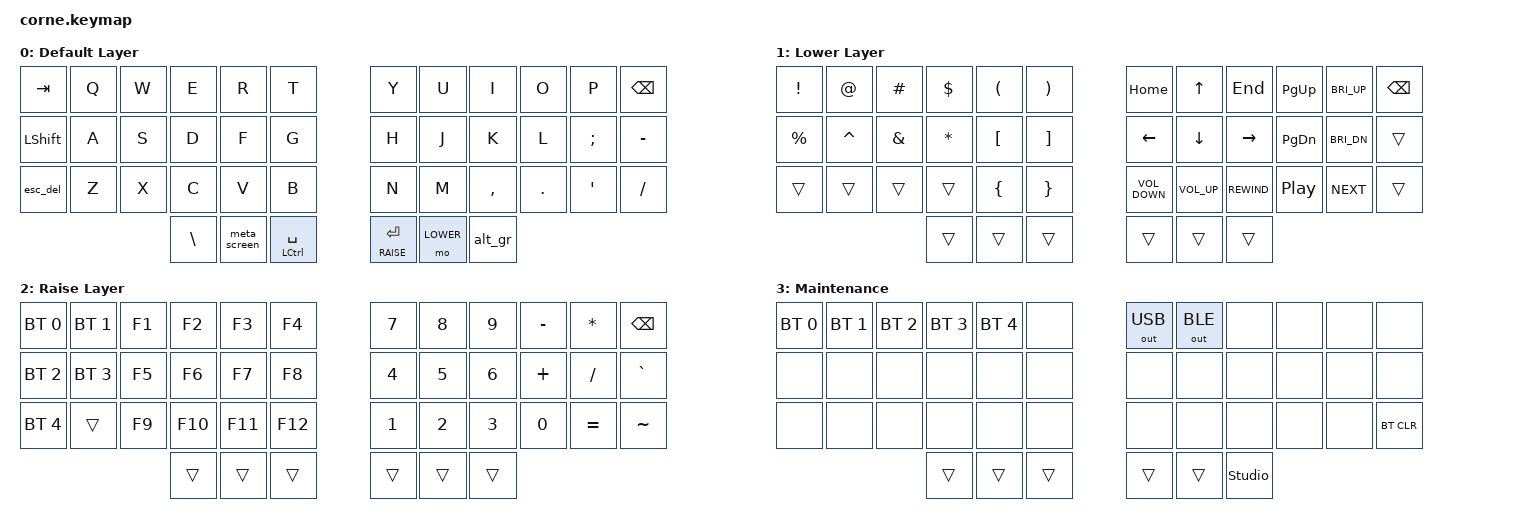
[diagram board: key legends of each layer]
/*
 * Copyright (c) 2020 The ZMK Contributors
 *
 * SPDX-License-Identifier: MIT
 */

#include <behaviors.dtsi>
#include <dt-bindings/zmk/bt.h>
#include <dt-bindings/zmk/keys.h>
#include <dt-bindings/zmk/outputs.h>

#define BASE 0
#define LOWER 1
#define RAISE 2
#define ADJUST 3

// Pulsación rápida y repetición de Espacio/Enter; mantener activa Ctrl/capa.
&mt {
    flavor = "balanced";
    tapping-term-ms = <200>;
    quick-tap-ms = <175>;
};

&lt {
    flavor = "balanced";
    tapping-term-ms = <200>;
    quick-tap-ms = <175>;
};

// La matriz de ambas mitades puede despertar el teclado.
&kscan0 {
    wakeup-source;
};

/ {
    conditional_layers {
        compatible = "zmk,conditional-layers";
        adjust {
            if-layers = <LOWER RAISE>;
            then-layer = <ADJUST>;
        };
    };

    behaviors {
        esc_del: esc_del {
            compatible = "zmk,behavior-tap-dance";
            display-name = "Escape / Delete";
            tapping-term-ms = <180>;
            #binding-cells = <0>;
            bindings = <&kp ESC>, <&kp DEL>;
        };

        meta_screen: meta_screen {
            compatible = "zmk,behavior-tap-dance";
            display-name = "GUI / Screenshot";
            tapping-term-ms = <180>;
            #binding-cells = <0>;
            bindings = <&kp LGUI>, <&kp PRINTSCREEN>;
        };

        alt_gr: alt_gr {
            compatible = "zmk,behavior-tap-dance";
            display-name = "AltGr / Alt";
            tapping-term-ms = <180>;
            #binding-cells = <0>;
            bindings = <&kp RALT>, <&kp LALT>;
        };
    };

    keymap {
        compatible = "zmk,keymap";

        default_layer {
            display-name = "Default Layer";

            bindings = <
&kp TAB     &kp Q  &kp W  &kp E          &kp R         &kp T                     &kp Y        &kp U  &kp I      &kp O    &kp P     &kp BSPC
&kp LSHIFT  &kp A  &kp S  &kp D          &kp F         &kp G                     &kp H        &kp J  &kp K      &kp L    &kp SEMI  &kp MINUS
&esc_del    &kp Z  &kp X  &kp C          &kp V         &kp B                     &kp N        &kp M  &kp COMMA  &kp DOT  &kp SQT   &kp SLASH
                          &kp BACKSLASH  &meta_screen  &mt LEFT_CONTROL SPACE    &lt RAISE ENTER  &mo LOWER  &alt_gr
            >;
        };

        lower_layer {
            display-name = "Lower Layer";

            bindings = <
&kp EXCLAMATION  &kp AT_SIGN  &kp HASH       &kp DOLLAR    &kp LEFT_PARENTHESIS  &kp RIGHT_PARENTHESIS    &kp HOME           &kp UP_ARROW     &kp END       &kp PAGE_UP       &kp C_BRI_UP  &kp BSPC
&kp PERCENT      &kp CARET    &kp AMPERSAND  &kp ASTERISK  &kp LEFT_BRACKET      &kp RIGHT_BRACKET        &kp LEFT           &kp DOWN         &kp RIGHT     &kp PAGE_DOWN     &kp C_BRI_DN  &trans
&trans           &trans       &trans         &trans        &kp LEFT_BRACE        &kp RIGHT_BRACE          &kp C_VOLUME_DOWN  &kp C_VOLUME_UP  &kp C_REWIND  &kp C_PLAY_PAUSE  &kp C_NEXT    &trans
                                             &trans        &trans                &trans                   &trans             &trans           &trans
            >;
        };

        raise_layer {
            display-name = "Raise Layer";

            bindings = <
&bt BT_SEL 0  &bt BT_SEL 1  &kp F1  &kp F2      &kp F3   &kp F4       &kp N7        &kp N8        &kp N9        &kp MINUS  &kp ASTERISK  &kp BSPC
&bt BT_SEL 2  &bt BT_SEL 3  &kp F5  &kp F6      &kp F7   &kp F8       &kp NUMBER_4  &kp N5        &kp NUMBER_6  &kp PLUS   &kp SLASH     &kp GRAVE
&bt BT_SEL 4  &trans        &kp F9  &kp F10     &kp F11  &kp F12      &kp NUMBER_1  &kp NUMBER_2  &kp NUMBER_3  &kp N0     &kp EQUAL     &kp TILDE
                                    &trans      &trans   &trans       &trans        &trans        &trans
            >;
        };
        adjust_layer {
            display-name = "Maintenance";
            // Mantener LOWER + RAISE. Bluetooth: limpiar solo el perfil actual.
            bindings = <
&bt BT_SEL 0  &bt BT_SEL 1  &bt BT_SEL 2  &bt BT_SEL 3  &bt BT_SEL 4  &none    &out OUT_USB  &out OUT_BLE  &none  &none  &none  &none
&none         &none        &none        &none        &none        &none    &none         &none         &none  &none  &none  &none
&none         &none        &none        &none        &none        &none    &none         &none         &none  &none  &none  &bt BT_CLR
                                         &trans       &trans       &trans   &trans        &trans        &studio_unlock
            >;
        };
    };
};
